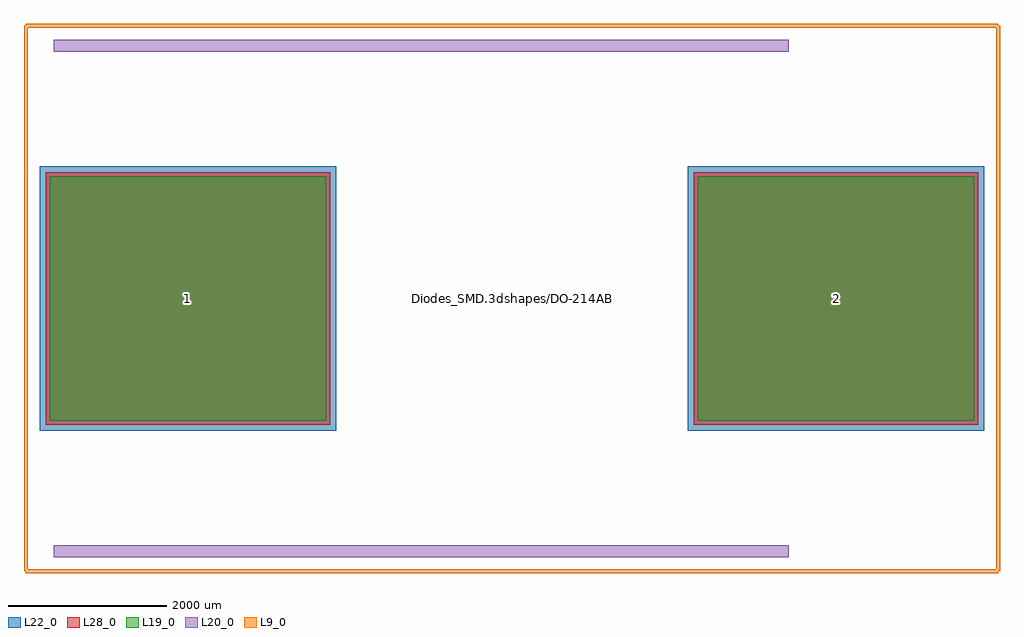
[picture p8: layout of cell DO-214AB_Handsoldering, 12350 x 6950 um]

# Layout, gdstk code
import gdstk
lib = gdstk.Library(unit=1e-6, precision=1e-09)
def R(c, l, rs):  # rectangles x0, y0, x1, y1
    for r in rs: c.add(gdstk.rectangle(r[:2], r[2:], *l))
L9_0 = (9, 0)
L19_0 = (19, 0)
L20_0 = (20, 0)
L22_0 = (22, 0)
L28_0 = (28, 0)

do_214ab_handsoldering = lib.new_cell('DO-214AB_Handsoldering')
R(do_214ab_handsoldering, L19_0, [(-5850,-1550,-2350,1550), (2350,-1550,5850,1550)])
R(do_214ab_handsoldering, L22_0, [(-5975,-1675,-2225,1675), (2225,-1675,5975,1675)])
R(do_214ab_handsoldering, L28_0, [(-5900,-1600,-2300,1600), (2300,-1600,5900,1600)])
do_214ab_handsoldering.add(gdstk.FlexPath([(-5800,3200),(3500,3200)], 149.998, ends="flush", simple_path=True, layer=20, datatype=0))  # L20_0
do_214ab_handsoldering.add(gdstk.FlexPath([(3500,-3200),(-5800,-3200)], 149.998, ends="flush", simple_path=True, layer=20, datatype=0))  # L20_0
do_214ab_handsoldering.add(gdstk.FlexPath([(-6150,-3450),(-6150,3450)], 50, ends="flush", simple_path=True, layer=9, datatype=0))  # L9_0
do_214ab_handsoldering.add(gdstk.FlexPath([(6150,-3450),(-6150,-3450)], 50, ends="flush", simple_path=True, layer=9, datatype=0))  # L9_0
do_214ab_handsoldering.add(gdstk.FlexPath([(6150,3450),(6150,-3450)], 50, ends="flush", simple_path=True, layer=9, datatype=0))  # L9_0
do_214ab_handsoldering.add(gdstk.FlexPath([(-6150,3450),(6150,3450)], 50, ends="flush", simple_path=True, layer=9, datatype=0))  # L9_0
do_214ab_handsoldering.add(gdstk.Label('Diodes_SMD.3dshapes/DO-214AB_Handsoldering.wrl', (0,0), layer=12, texttype=0))
do_214ab_handsoldering.add(gdstk.Label('1', (-4100,0), layer=28, texttype=0))
do_214ab_handsoldering.add(gdstk.Label('2', (4100,0), layer=28, texttype=0))
do_214ab_handsoldering.add(gdstk.Label('type', (0,-4600), layer=9, texttype=0))
do_214ab_handsoldering.add(gdstk.Label('devicename', (0,4200), layer=9, texttype=0))

lib.write_gds('DO-214AB_Handsoldering.gds')
